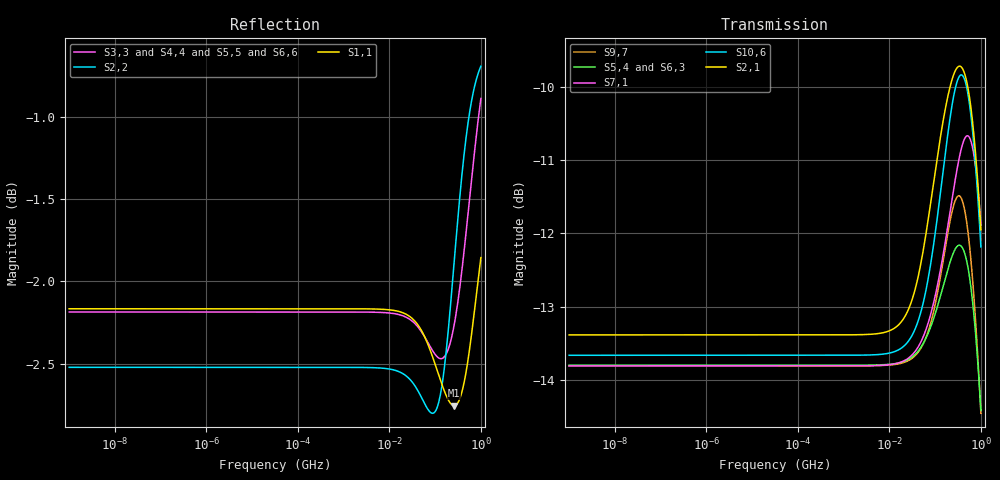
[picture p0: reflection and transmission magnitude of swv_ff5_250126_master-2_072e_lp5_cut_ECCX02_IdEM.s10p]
! Touchstone data
! Created: 18-Apr-2025 by IdEM 2023 (2023.0.0)
! COMMENTS
!  Touchstone file exported from Ansys Full-Wave Spice
!  Project: 0000_PSI_S-parameter_Sweep
!  Design: unknown
!  Creation time: Fri Apr 18 11:24:56 2025
!  Notes: ! Touchstone(R) file created by SIwave 2025 R1
!  : ! Touchstone(R) file created on Fri Apr 18 11:24:56 2025
!  Modal data exported
!  Port[1] = PORT_1_DIE1_VDDCR_ECCX02_Group_DIE1_GRP_1_0_VSS
!  Port[2] = PORT_2_BGA1_VDDCR_ECCX02_Group_BGA1_GRP_1_1_VSS
!  Port[3] = VDDCR_ECCX02_C16_1
!  Port[4] = VDDCR_ECCX02_C17_1
!  Port[5] = VDDCR_ECCX02_C23_1
!  Port[6] = VDDCR_ECCX02_C24_1
!  Port[7] = VDDCR_ECCX02_C62_1
!  Port[8] = VDDCR_ECCX02_C98_1
!  Port[9] = VDDCR_ECCX02_C99_1
!  Port[10] = VDDCR_ECCX02_C109_1
! Options Used in IdEM Flow
! Fitting Options !
! Bandwidth: 1.0000e+09 Hz
! Order: [2 2 4]
! SplitType: none
! tol: 1.0000e-03
! DC Point: enforced
! Passivity Options !
! Alg: SOC+HAM
!  Max SOC it: 200
!  Max HAM it: 50
! Freq sampling: adaptive
! DC Point: enforced
! Optimization method: Model based
# Hz S MA R 0.1
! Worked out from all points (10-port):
!   420 points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, 1 Hz to 1 GHz, reference 0.1 ohm
!   strongest paths, dB at 1 Hz, 3.687 kHz, 11.66 MHz, 482.9 MHz, 1 GHz:
!     S2,1: -13.4, -13.4, -13.3, -9.9, -12.0
!     S10,6: -13.7, -13.7, -13.6, -10.0, -12.2
!     S7,1: -13.8, -13.8, -13.8, -10.7, -11.9
!     S5,4: -13.8, -13.8, -13.8, -12.4, -14.4
!     S9,7: -13.8, -13.8, -13.8, -11.8, -14.5
!     S6,3: -13.8, -13.8, -13.8, -12.2, -14.2
!   lowest |S11| = -2.8 dB at 259.1 MHz (marker M1), VSWR 6.36, Z = 0.0174 + j0.0324 ohm
!   |S11| at or under -10 dB: nowhere
